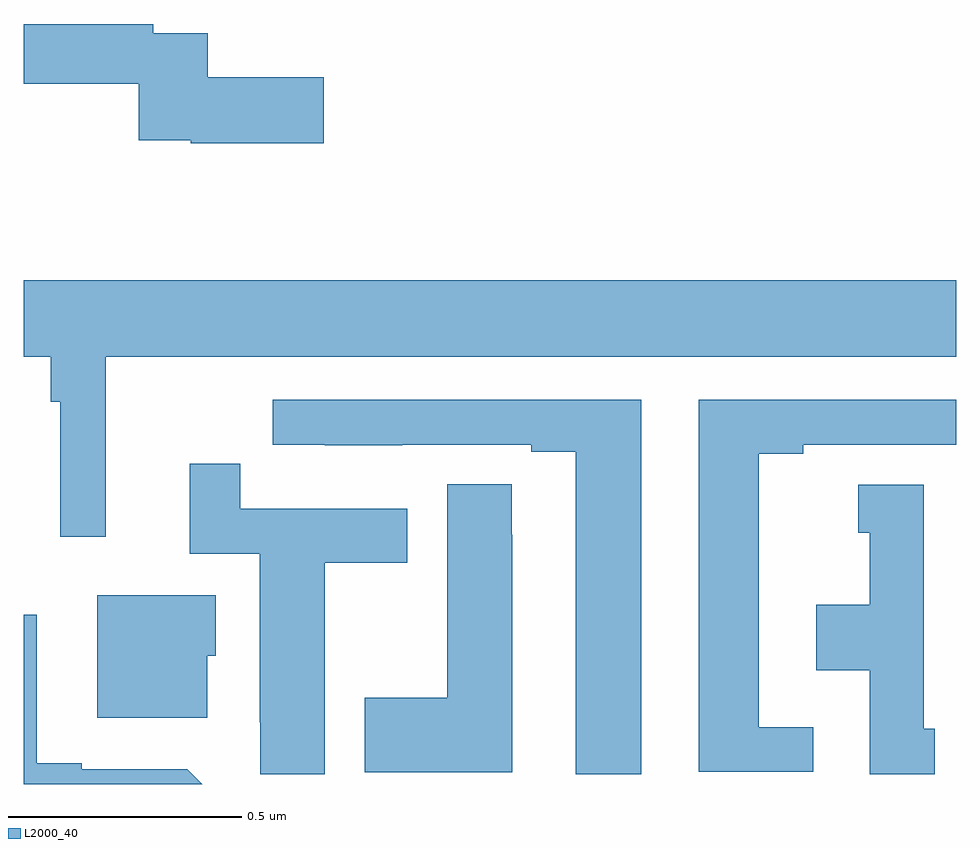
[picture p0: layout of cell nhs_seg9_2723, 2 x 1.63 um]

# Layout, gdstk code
import gdstk
lib = gdstk.Library(unit=1e-6, precision=1e-09)
def P(c, l, *ps):  # polygons
    for p in ps: c.add(gdstk.Polygon(p, *l))
L2000_40 = (2000, 40)

nhs_seg9_2723 = lib.new_cell('nhs_seg9_2723')
P(nhs_seg9_2723, L2000_40, [(144.643,1201.016),(144.395,1201.016),(144.395,1201.11),(144.278,1201.11),(144.278,1201.13),(144,1201.13),(144,1201.002),(144.247,1201.002),(144.247,1200.881),(144.358,1200.881),(144.358,1200.874),(144.643,1200.874)],
  [(144.176,1200.416),(146,1200.416),(146,1200.58),(144,1200.58),(144,1200.416),(144.058,1200.416),(144.058,1200.32),(144.078,1200.32),(144.078,1200.03),(144.176,1200.03)],
  [(145.324,1200.324),(144.534,1200.324),(144.534,1200.228),(144.646,1200.228),(144.646,1200.227),(144.812,1200.227),(144.812,1200.228),(145.088,1200.228),(145.088,1200.213),(145.184,1200.213),(145.184,1199.521),(145.324,1199.521)],
  [(145.693,1199.622),(145.576,1199.622),(145.576,1200.208),(145.672,1200.208),(145.672,1200.228),(146,1200.228),(146,1200.324),(145.448,1200.324),(145.448,1199.526),(145.693,1199.526)],
  [(144.646,1199.974),(144.823,1199.974),(144.823,1200.09),(144.464,1200.09),(144.464,1200.187),(144.356,1200.187),(144.356,1199.994),(144.506,1199.994),(144.506,1199.632),(144.507,1199.632),(144.507,1199.521),(144.646,1199.521)],
  [(145.048,1200.035),(145.047,1200.035),(145.047,1200.143),(144.908,1200.143),(144.908,1199.685),(144.731,1199.685),(144.731,1199.525),(145.048,1199.525)],
  [(145.954,1199.619),(145.93,1199.619),(145.93,1200.142),(145.79,1200.142),(145.79,1200.039),(145.814,1200.039),(145.814,1199.884),(145.7,1199.884),(145.7,1199.744),(145.814,1199.744),(145.814,1199.521),(145.954,1199.521)],
  [(144.394,1199.775),(144.412,1199.775),(144.412,1199.905),(144.158,1199.905),(144.158,1199.642),(144.394,1199.642)],
  [(144.351,1199.532),(144.124,1199.532),(144.124,1199.545),(144.028,1199.545),(144.028,1199.863),(144,1199.863),(144,1199.5),(144.383,1199.5)])

lib.write_gds('nhs_seg9_2723.gds')
